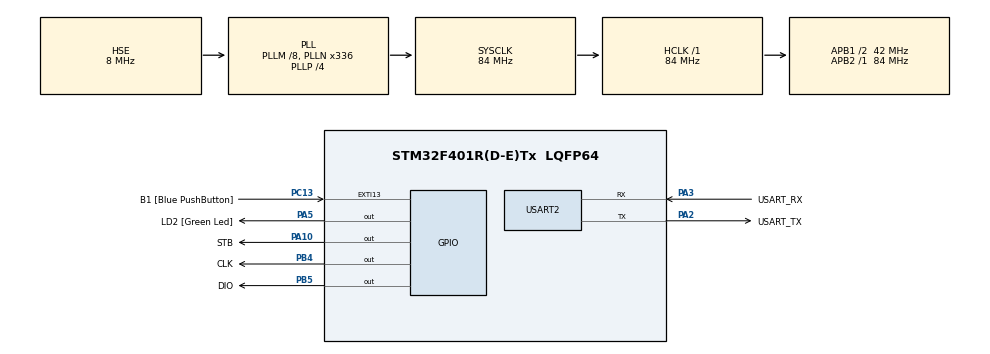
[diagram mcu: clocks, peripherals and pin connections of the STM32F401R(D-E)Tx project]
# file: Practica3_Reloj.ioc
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Mcu.Family=STM32F4
Mcu.Name=STM32F401R(D-E)Tx
Mcu.Package=LQFP64
NVIC.PriorityGroup=NVIC_PRIORITYGROUP_4
PA10.GPIO_Label=STB
PA10.Signal=GPIO_Output
PA13.GPIO_Label=TMS
PA13.Mode=Trace_Asynchronous_SW
PA13.Signal=SYS_JTMS-SWDIO
PA14.GPIO_Label=TCK
PA14.Mode=Trace_Asynchronous_SW
PA14.Signal=SYS_JTCK-SWCLK
PA2.GPIO_Label=USART_TX
PA2.GPIO_Mode=GPIO_MODE_AF_PP
PA2.GPIO_PuPd=GPIO_NOPULL
PA2.GPIO_Speed=GPIO_SPEED_FREQ_LOW
PA2.Mode=Asynchronous
PA2.Signal=USART2_TX
PA3.GPIO_Label=USART_RX
PA3.GPIO_Mode=GPIO_MODE_AF_PP
PA3.GPIO_PuPd=GPIO_NOPULL
PA3.GPIO_Speed=GPIO_SPEED_FREQ_LOW
PA3.Mode=Asynchronous
PA3.Signal=USART2_RX
PA5.GPIO_Label=LD2 [Green Led]
PA5.GPIO_Mode=GPIO_MODE_OUTPUT_PP
PA5.GPIO_PuPd=GPIO_NOPULL
PA5.GPIO_Speed=GPIO_SPEED_FREQ_LOW
PA5.Signal=GPIO_Output
PB3.GPIO_Label=SWO
PB3.Mode=Trace_Asynchronous_SW
PB3.Signal=SYS_JTDO-SWO
PB4.GPIO_Label=CLK
PB4.Signal=GPIO_Output
PB5.GPIO_Label=DIO
PB5.Signal=GPIO_Output
PC13-ANTI_TAMP.GPIO_Label=B1 [Blue PushButton]
PC13-ANTI_TAMP.GPIO_ModeDefaultEXTI=GPIO_MODE_IT_FALLING
PC13-ANTI_TAMP.GPIO_PuPd=GPIO_NOPULL
PC13-ANTI_TAMP.Signal=GPXTI13
PC14-OSC32_IN.Mode=LSE-External-Oscillator
PC14-OSC32_IN.Signal=RCC_OSC32_IN
PC15-OSC32_OUT.Mode=LSE-External-Oscillator
PC15-OSC32_OUT.Signal=RCC_OSC32_OUT
PH0\ -\ OSC_IN.Mode=HSE-External-Clock-Source
PH0\ -\ OSC_IN.Signal=RCC_OSC_IN
PH1\ -\ OSC_OUT.Mode=HSE-External-Clock-Source
PH1\ -\ OSC_OUT.Signal=RCC_OSC_OUT
ProjectManager.HeapSize=0x200
ProjectManager.StackSize=0x400
ProjectManager.TargetToolchain=STM32CubeIDE
RCC.48MHZClocksFreq_Value=48000000
RCC.AHBFreq_Value=84000000
RCC.APB1CLKDivider=RCC_HCLK_DIV2
RCC.APB1Freq_Value=42000000
RCC.APB1TimFreq_Value=84000000
RCC.APB2Freq_Value=84000000
RCC.APB2TimFreq_Value=84000000
RCC.CortexFreq_Value=84000000
RCC.HCLKFreq_Value=84000000
RCC.HSE_VALUE=8000000
RCC.HSI_VALUE=16000000
RCC.PLLM=8
RCC.PLLN=336
RCC.PLLP=RCC_PLLP_DIV4
RCC.PLLQ=7
RCC.PLLSourceVirtual=RCC_PLLSOURCE_HSE
RCC.SYSCLKFreq_VALUE=84000000
RCC.SYSCLKSource=RCC_SYSCLKSOURCE_PLLCLK
RCC.VCOOutputFreq_Value=336000000
USART2.VirtualMode=VM_ASYNC
board=NUCLEO-F401RE

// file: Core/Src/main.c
/* USER CODE BEGIN Header */
/**
  ******************************************************************************
  * @file           : main.c
  * @brief          : Main program body
  ******************************************************************************
  * @attention
  *
  * Copyright (c) 2026 STMicroelectronics.
  * All rights reserved.
  *
  * This software is licensed under terms that can be found in the LICENSE file
  * in the root directory of this software component.
  * If no LICENSE file comes with this software, it is provided AS-IS.
  *
  ******************************************************************************
  */
/* USER CODE END Header */
#include "main.h"

/* USER CODE BEGIN Includes */
#include <stdio.h>
#include "TM1638.h"
/* USER CODE END Includes */

/* USER CODE BEGIN PTD */
TM1638 TM;
#define TICK_MS 10
/* USER CODE END PTD */

UART_HandleTypeDef huart2;

void SystemClock_Config(void);
static void MX_GPIO_Init(void);
static void MX_USART2_UART_Init(void);

/* USER CODE BEGIN 0 */
void representacionTexto(int valor[4]){
	char caracteres[7];
	sprintf(caracteres, "%d%d%d.%02d", valor[3], valor[2], valor[1], valor[0]);
	tm1638_DisplayTxt(&TM, caracteres);
}
void avanceCronometro(int valor[4]){
	valor[0]++;
	if(valor[0]==100){
		valor[0]=0;
		valor[1]++;
		if(valor[1]==10){
			valor[1]=0;
			valor[2]++;
			if(valor[2]==10){
				valor[2]=0;
				valor[3]++;
				if(valor[3]==10){
					valor[3]=0;
				}
			}
		}
	}
}
/* USER CODE END 0 */

int main(void)
{

  /* MCU Configuration--------------------------------------------------------*/

  /* Reset of all peripherals, Initializes the Flash interface and the Systick. */
  HAL_Init();

  /* Configure the system clock */
  SystemClock_Config();

  /* Initialize all configured peripherals */
  MX_GPIO_Init();
  MX_USART2_UART_Init();
  /* USER CODE BEGIN 2 */
  TM.clk_port = CLK_GPIO_Port; TM.clk_pin = CLK_Pin;
  TM.stb_port = STB_GPIO_Port; TM.stb_pin = STB_Pin;
  TM.dio_port = DIO_GPIO_Port; TM.dio_pin = DIO_Pin;

  tm1638_TurnOn(&TM, 7);
  tm1638_DisplayClear(&TM);

  int arrayCronometro[4]={00,0,0,0};
  static uint32_t tCuenta=0;
  tCuenta=HAL_GetTick();
  /* USER CODE END 2 */

  /* Infinite loop */
  /* USER CODE BEGIN WHILE */
  while (1)
  {
	  if(HAL_GetTick()-tCuenta>=TICK_MS){
		  avanceCronometro(arrayCronometro);
		  representacionTexto(arrayCronometro);
		  tCuenta+=TICK_MS;
	  }
    /* USER CODE END WHILE */

  }
}

void SystemClock_Config(void)
{
  RCC_OscInitTypeDef RCC_OscInitStruct = {0};
  RCC_ClkInitTypeDef RCC_ClkInitStruct = {0};

  /** Configure the main internal regulator output voltage
  */
  __HAL_RCC_PWR_CLK_ENABLE();
  __HAL_PWR_VOLTAGESCALING_CONFIG(PWR_REGULATOR_VOLTAGE_SCALE2);

  /** Initializes the RCC Oscillators according to the specified parameters
  * in the RCC_OscInitTypeDef structure.
  */
  RCC_OscInitStruct.OscillatorType = RCC_OSCILLATORTYPE_HSE;
  RCC_OscInitStruct.HSEState = RCC_HSE_BYPASS;
  RCC_OscInitStruct.PLL.PLLState = RCC_PLL_ON;
  RCC_OscInitStruct.PLL.PLLSource = RCC_PLLSOURCE_HSE;
  RCC_OscInitStruct.PLL.PLLM = 8;
  RCC_OscInitStruct.PLL.PLLN = 336;
  RCC_OscInitStruct.PLL.PLLP = RCC_PLLP_DIV4;
  RCC_OscInitStruct.PLL.PLLQ = 7;
  if (HAL_RCC_OscConfig(&RCC_OscInitStruct) != HAL_OK)
  {
    Error_Handler();
  }

  /** Initializes the CPU, AHB and APB buses clocks
  */
  RCC_ClkInitStruct.ClockType = RCC_CLOCKTYPE_HCLK|RCC_CLOCKTYPE_SYSCLK
                              |RCC_CLOCKTYPE_PCLK1|RCC_CLOCKTYPE_PCLK2;
  RCC_ClkInitStruct.SYSCLKSource = RCC_SYSCLKSOURCE_PLLCLK;
  RCC_ClkInitStruct.AHBCLKDivider = RCC_SYSCLK_DIV1;
  RCC_ClkInitStruct.APB1CLKDivider = RCC_HCLK_DIV2;
  RCC_ClkInitStruct.APB2CLKDivider = RCC_HCLK_DIV1;

  if (HAL_RCC_ClockConfig(&RCC_ClkInitStruct, FLASH_LATENCY_2) != HAL_OK)
  {
    Error_Handler();
  }
}

static void MX_USART2_UART_Init(void)
{

  huart2.Instance = USART2;
  huart2.Init.BaudRate = 115200;
  huart2.Init.WordLength = UART_WORDLENGTH_8B;
  huart2.Init.StopBits = UART_STOPBITS_1;
  huart2.Init.Parity = UART_PARITY_NONE;
  huart2.Init.Mode = UART_MODE_TX_RX;
  huart2.Init.HwFlowCtl = UART_HWCONTROL_NONE;
  huart2.Init.OverSampling = UART_OVERSAMPLING_16;
  if (HAL_UART_Init(&huart2) != HAL_OK)
  {
    Error_Handler();
  }

}

static void MX_GPIO_Init(void)
{
  GPIO_InitTypeDef GPIO_InitStruct = {0};

  /* GPIO Ports Clock Enable */
  __HAL_RCC_GPIOC_CLK_ENABLE();
  __HAL_RCC_GPIOH_CLK_ENABLE();
  __HAL_RCC_GPIOA_CLK_ENABLE();
  __HAL_RCC_GPIOB_CLK_ENABLE();

  /*Configure GPIO pin Output Level */
  HAL_GPIO_WritePin(GPIOA, LD2_Pin|STB_Pin, GPIO_PIN_RESET);

  /*Configure GPIO pin Output Level */
  HAL_GPIO_WritePin(GPIOB, CLK_Pin|DIO_Pin, GPIO_PIN_RESET);

  /*Configure GPIO pin : B1_Pin */
  GPIO_InitStruct.Pin = B1_Pin;
  GPIO_InitStruct.Mode = GPIO_MODE_IT_FALLING;
  GPIO_InitStruct.Pull = GPIO_NOPULL;
  HAL_GPIO_Init(B1_GPIO_Port, &GPIO_InitStruct);

  /*Configure GPIO pins : LD2_Pin STB_Pin */
  GPIO_InitStruct.Pin = LD2_Pin|STB_Pin;
  GPIO_InitStruct.Mode = GPIO_MODE_OUTPUT_PP;
  GPIO_InitStruct.Pull = GPIO_NOPULL;
  GPIO_InitStruct.Speed = GPIO_SPEED_FREQ_LOW;
  HAL_GPIO_Init(GPIOA, &GPIO_InitStruct);

  /*Configure GPIO pins : CLK_Pin DIO_Pin */
  GPIO_InitStruct.Pin = CLK_Pin|DIO_Pin;
  GPIO_InitStruct.Mode = GPIO_MODE_OUTPUT_PP;
  GPIO_InitStruct.Pull = GPIO_NOPULL;
  GPIO_InitStruct.Speed = GPIO_SPEED_FREQ_LOW;
  HAL_GPIO_Init(GPIOB, &GPIO_InitStruct);

}

void Error_Handler(void)
{
  __disable_irq();
  while (1)
  {
  }
}
